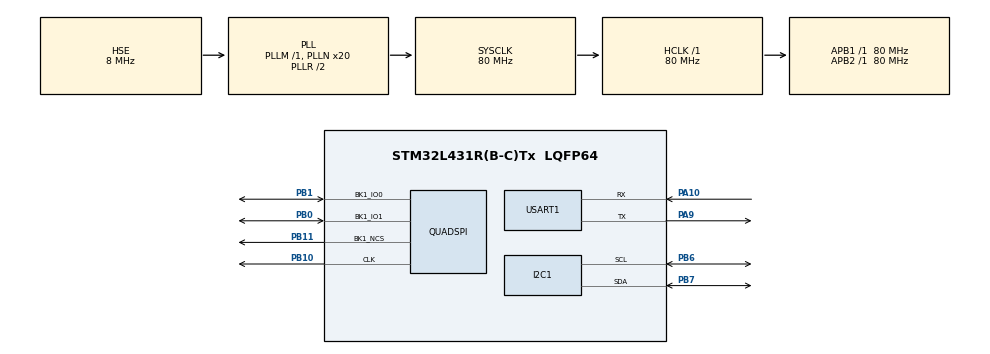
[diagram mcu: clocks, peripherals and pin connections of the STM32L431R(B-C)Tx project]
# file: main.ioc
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FATFS._CODE_PAGE=936
FATFS._MAX_SS=4096
FATFS._USE_LABEL=1
FATFS._USE_LFN=2
I2C1.Timing=0x10909CEC
Mcu.Family=STM32L4
Mcu.Name=STM32L431R(B-C)Tx
Mcu.Package=LQFP64
NVIC.PriorityGroup=NVIC_PRIORITYGROUP_4
PA10.Mode=Asynchronous
PA10.Signal=USART1_RX
PA9.Mode=Asynchronous
PA9.Signal=USART1_TX
PB0.Mode=Single Bank 1 2IOs
PB0.Signal=QUADSPI_BK1_IO1
PB1.Mode=Single Bank 1 2IOs
PB1.Signal=QUADSPI_BK1_IO0
PB10.Mode=Single Bank 1 2IOs
PB10.Signal=QUADSPI_CLK
PB11.Mode=Single Bank 1 2IOs
PB11.Signal=QUADSPI_BK1_NCS
PB6.Mode=I2C
PB6.Signal=I2C1_SCL
PB7.Mode=I2C
PB7.Signal=I2C1_SDA
PH0-OSC_IN\ (PH0).Mode=HSE-External-Oscillator
PH0-OSC_IN\ (PH0).Signal=RCC_OSC_IN
PH1-OSC_OUT\ (PH1).Mode=HSE-External-Oscillator
PH1-OSC_OUT\ (PH1).Signal=RCC_OSC_OUT
ProjectManager.HeapSize=0x1000
ProjectManager.StackSize=0x1200
ProjectManager.TargetToolchain=MDK-ARM V5
QUADSPI.ChipSelectHighTime=QSPI_CS_HIGH_TIME_4_CYCLE
QUADSPI.ClockPrescaler=0
QUADSPI.FifoThreshold=4
QUADSPI.FlashSize=22
RCC.ADCFreq_Value=32000000
RCC.AHBFreq_Value=80000000
RCC.APB1Freq_Value=80000000
RCC.APB1TimFreq_Value=80000000
RCC.APB2Freq_Value=80000000
RCC.APB2TimFreq_Value=80000000
RCC.CortexFreq_Value=80000000
RCC.HCLKFreq_Value=80000000
RCC.HSE_VALUE=8000000
RCC.HSI48_VALUE=48000000
RCC.HSI_VALUE=16000000
RCC.LSE_VALUE=32768
RCC.MSI_VALUE=4000000
RCC.PLLN=20
RCC.PLLSourceVirtual=RCC_PLLSOURCE_HSE
RCC.SYSCLKFreq_VALUE=80000000
RCC.SYSCLKSource=RCC_SYSCLKSOURCE_PLLCLK
RCC.VCOOutputFreq_Value=160000000
USART1.VirtualMode-Asynchronous=VM_ASYNC
VP_FATFS_VS_Generic.Mode=User_defined
board=custom

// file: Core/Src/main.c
/* USER CODE BEGIN Header */
/**
  ******************************************************************************
  * @file           : main.c
  * @brief          : Main program body
  ******************************************************************************
  * @attention
  *
  * <h2><center>&copy; Copyright (c) 2021 STMicroelectronics.
  * All rights reserved.</center></h2>
  *
  * This software component is licensed by ST under BSD 3-Clause license,
  * the "License"; You may not use this file except in compliance with the
  * License. You may obtain a copy of the License at:
  *                        opensource.org/licenses/BSD-3-Clause
  *
  ******************************************************************************
  */
/* USER CODE END Header */
#include "main.h"
#include "fatfs.h"
#include "i2c.h"
#include "quadspi.h"
#include "usart.h"
#include "gpio.h"

/* USER CODE BEGIN Includes */
#include "bsp_w25q64.h"
/* USER CODE END Includes */

void SystemClock_Config(void);

/* USER CODE BEGIN 0 */
/*挂载文件系统*/
uint8_t work[_MAX_SS] ;
void Mount_Fatfs(void)
{
    retUSER = f_mount(&USERFatFS, USERPath, 1);

    if(retUSER != FR_OK)
    {
        if(retUSER == FR_NO_FILESYSTEM)
        {
            printf("f_mount 没有文件系统,开始格式化spi-flash\r\n");
            retUSER = f_mkfs(USERPath, FM_ANY, 0, work, sizeof(work));

            if(retUSER != FR_OK)
            {
                printf("f_mkfs 格式化失败，err = %d\r\n", retUSER);
            }
            else
            {
                printf("格式化成功，开始重新挂载spi-flash\r\n");
                retUSER = f_mount(&USERFatFS, USERPath, 1);

                if(retUSER != FR_OK)
                {
                    printf("f_mount 发生错误，err = %d\r\n", retUSER);
                }
                else
                {
                    printf("spi-flash文件系统挂载成功\r\n");
                }
            }
        }
        else
        {
            printf("f_mount 发生其他错误，err = %d\r\n", retUSER);
        }
    }
    else
        printf("spi-flash文件系统挂载成功\r\n");
}

/*获取盘内存*/
uint8_t  f_GetTotal_Free(uint8_t *drv, uint32_t *total, uint32_t *free)
{
    FATFS *fs1;
    uint8_t res;
    DWORD fre_clust = 0, fre_sect = 0, tot_sect = 0;
    res = f_getfree((const TCHAR*)drv, &fre_clust, &fs1);//得到磁盘信息及空闲簇数量

    if(res == 0)
    {
        tot_sect = (fs1->n_fatent - 2) * fs1->csize; //得到总扇区数
        fre_sect = fre_clust * fs1->csize;        //得到空闲扇区数
        #if _MAX_SS!=512                                  //扇区大小不是512字节,则转换为512字节
        tot_sect *= fs1->ssize / 512;
        fre_sect *= fs1->ssize / 512;
        #endif
        *total = tot_sect >> 1; //单位为KB
        *free = fre_sect >> 1; //单位为KB
    }
    return res;
}

unsigned int count = 0;
unsigned char work[4096] = {0};
unsigned char read_buf[50] = {0};
unsigned char write_buf[50] = "hello BearPi\r\n";
/* USER CODE END 0 */

int main(void)
{
    /* USER CODE BEGIN 1 */
		uint8_t res ;
		uint32_t Total = 0; //读取FLASH总容量
    uint32_t Free = 0; //读取FLASH剩余容量
    /* USER CODE END 1 */

    /* MCU Configuration--------------------------------------------------------*/

    /* Reset of all peripherals, Initializes the Flash interface and the Systick. */
    HAL_Init();

    /* Configure the system clock */
    SystemClock_Config();

    /* Initialize all configured peripherals */
    MX_GPIO_Init();
    MX_I2C1_Init();
    MX_USART1_UART_Init();
    MX_QUADSPI_Init();
    MX_FATFS_Init();
    /* USER CODE BEGIN 2 */
    Mount_Fatfs();
    f_GetTotal_Free((uint8_t*)"0:", &Total, &Free); //获取SD卡总容量和剩余容量
		printf("当前Fatfs总容量:%dKB==>%dMB 剩余容量:%dKB==>%dMB\n",Total,Total/1024,Free,Free/1024);

		/*----------------------- 文件系统测试：写测试 -----------------------------*/
    printf("\r\n****** 即将进行文件写入测试... ******\r\n");
    res = f_open(&USERFile, "0:BearPi.txt", FA_OPEN_ALWAYS | FA_WRITE);

    if(res == FR_OK)
    {
        printf("打开/创建BearPi.txt文件成功，向文件写入数据。\r\n");
        res = f_write(&USERFile, write_buf, strlen((const char *)write_buf), &count);

        if(res != FR_OK)
        {
            printf("f_write 发生错误，err = %d\r\n", res);
            printf("关闭打开的BearPi.txt文件\r\n");
            count = 0;
            f_close(&USERFile);
        }
        else
        {
            printf("文件写入成功，写入字节数据：%d\n", count);
            printf("向文件写入的数据为：\r\n%s\r\n", write_buf);
            printf("关闭打开的BearPi.txt文件\r\n");
            count = 0;
            f_close(&USERFile);
        }
    }
    else printf("打开/创建BearPi.txt文件失败，err = %d\r\n", res);

    /*------------------- 文件系统测试：读测试 ------------------------------------*/
    printf("****** 即将进行文件读取测试... ******\r\n");
    res = f_open(&USERFile, "0:BearPi.txt", FA_OPEN_EXISTING | FA_READ);

    if(res == FR_OK)
    {
        printf("打开BearPi.txt文件成功\r\n");
        res = f_read(&USERFile, read_buf, sizeof(read_buf), &count);

        if(res != FR_OK)
        {
            printf("f_read 发生错误，err = %d\r\n", res);
            printf("关闭打开的BearPi.txt文件\r\n");
            f_close(&USERFile);
        }
        else
        {
            printf("文件读取成功，读取字节数据：%d\n", count);
            printf("向文件读取的数据为：\r\n%s\r\n", read_buf);
            printf("关闭打开的BearPi.txt文件\r\n");
            f_close(&USERFile);
        }
    }
    else printf("打开BearPi.txt文件失败，err = %d\r\n", res);

    /*------------------- 不再使用文件系统，取消挂载文件系统 ------------------------------------*/
    printf("不再使用文件系统，取消挂载文件系统\r\n");
    res = f_mount(NULL, "0:", 1);

    if(res == FR_OK) printf("取消挂载文件系统成功\r\n");
    else    printf("取消挂载文件系统失败，err = %d\r\n", res);

    printf("文件系统测试结束\r\n");
    /* USER CODE END 2 */

    /* Infinite loop */
    while (1)
    {

    }
}

void SystemClock_Config(void)
{
    RCC_OscInitTypeDef RCC_OscInitStruct = {0};
    RCC_ClkInitTypeDef RCC_ClkInitStruct = {0};
    RCC_PeriphCLKInitTypeDef PeriphClkInit = {0};

    /** Initializes the RCC Oscillators according to the specified parameters
    * in the RCC_OscInitTypeDef structure.
    */
    RCC_OscInitStruct.OscillatorType = RCC_OSCILLATORTYPE_HSE;
    RCC_OscInitStruct.HSEState = RCC_HSE_ON;
    RCC_OscInitStruct.PLL.PLLState = RCC_PLL_ON;
    RCC_OscInitStruct.PLL.PLLSource = RCC_PLLSOURCE_HSE;
    RCC_OscInitStruct.PLL.PLLM = 1;
    RCC_OscInitStruct.PLL.PLLN = 20;
    RCC_OscInitStruct.PLL.PLLP = RCC_PLLP_DIV7;
    RCC_OscInitStruct.PLL.PLLQ = RCC_PLLQ_DIV2;
    RCC_OscInitStruct.PLL.PLLR = RCC_PLLR_DIV2;

    if (HAL_RCC_OscConfig(&RCC_OscInitStruct) != HAL_OK)
    {
        Error_Handler();
    }

    /** Initializes the CPU, AHB and APB buses clocks
    */
    RCC_ClkInitStruct.ClockType = RCC_CLOCKTYPE_HCLK | RCC_CLOCKTYPE_SYSCLK
                                  | RCC_CLOCKTYPE_PCLK1 | RCC_CLOCKTYPE_PCLK2;
    RCC_ClkInitStruct.SYSCLKSource = RCC_SYSCLKSOURCE_PLLCLK;
    RCC_ClkInitStruct.AHBCLKDivider = RCC_SYSCLK_DIV1;
    RCC_ClkInitStruct.APB1CLKDivider = RCC_HCLK_DIV1;
    RCC_ClkInitStruct.APB2CLKDivider = RCC_HCLK_DIV1;

    if (HAL_RCC_ClockConfig(&RCC_ClkInitStruct, FLASH_LATENCY_4) != HAL_OK)
    {
        Error_Handler();
    }

    PeriphClkInit.PeriphClockSelection = RCC_PERIPHCLK_USART1 | RCC_PERIPHCLK_I2C1;
    PeriphClkInit.Usart1ClockSelection = RCC_USART1CLKSOURCE_PCLK2;
    PeriphClkInit.I2c1ClockSelection = RCC_I2C1CLKSOURCE_PCLK1;

    if (HAL_RCCEx_PeriphCLKConfig(&PeriphClkInit) != HAL_OK)
    {
        Error_Handler();
    }

    /** Configure the main internal regulator output voltage
    */
    if (HAL_PWREx_ControlVoltageScaling(PWR_REGULATOR_VOLTAGE_SCALE1) != HAL_OK)
    {
        Error_Handler();
    }
}

void Error_Handler(void)
{
}

/************************ (C) COPYRIGHT STMicroelectronics *****END OF FILE****/
